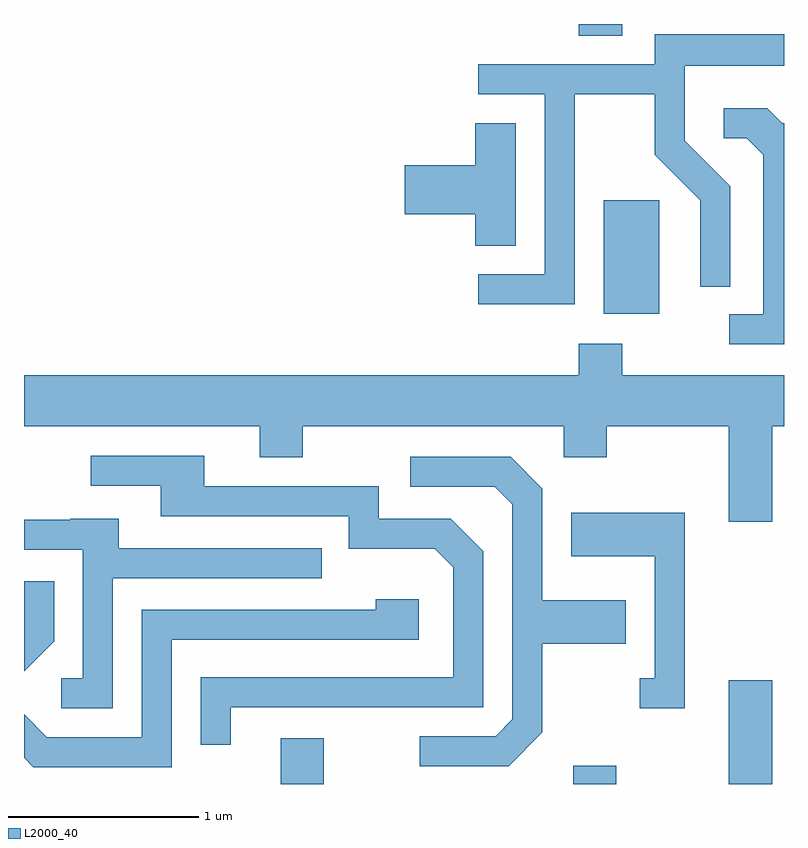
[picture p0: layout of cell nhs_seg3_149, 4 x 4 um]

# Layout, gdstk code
import gdstk
lib = gdstk.Library(unit=1e-6, precision=1e-09)
def R(c, l, rs):  # rectangles x0, y0, x1, y1
    for r in rs: c.add(gdstk.rectangle(r[:2], r[2:], *l))
def P(c, l, *ps):  # polygons
    for p in ps: c.add(gdstk.Polygon(p, *l))
L2000_40 = (2000, 40)

nhs_seg3_149 = lib.new_cell('nhs_seg3_149')
R(nhs_seg3_149, L2000_40, [(190.961,1141.892,191.189,1142.134), (192.501,1141.892,192.729,1141.989), (193.321,1141.892,193.549,1142.439), (192.661,1144.366,192.954,1144.964), (192.531,1145.831,192.759,1145.892)])
P(nhs_seg3_149, L2000_40, [(192.509,1145.521),(192.931,1145.521),(192.931,1145.204),(193.171,1144.964),(193.171,1144.508),(193.329,1144.508),(193.329,1145.037),(193.089,1145.277),(193.089,1145.671),(193.611,1145.671),(193.611,1145.839),(192.931,1145.839),(192.931,1145.679),(192.003,1145.679),(192.003,1145.521),(192.351,1145.521),(192.351,1144.574),(192.003,1144.574),(192.003,1144.416),(192.509,1144.416)],
  [(193.611,1145.369),(193.602,1145.369),(193.522,1145.449),(193.293,1145.449),(193.293,1145.291),(193.414,1145.291),(193.501,1145.204),(193.501,1144.364),(193.323,1144.364),(193.323,1144.206),(193.611,1144.206)],
  [(192.199,1145.369),(191.986,1145.369),(191.986,1145.149),(191.616,1145.149),(191.616,1144.891),(191.986,1144.891),(191.986,1144.726),(192.199,1144.726)],
  [(193.549,1143.776),(193.611,1143.776),(193.611,1144.044),(192.759,1144.044),(192.759,1144.209),(192.531,1144.209),(192.531,1144.044),(189.611,1144.044),(189.611,1143.776),(190.851,1143.776),(190.851,1143.611),(191.079,1143.611),(191.079,1143.776),(192.451,1143.776),(192.451,1143.611),(192.679,1143.611),(192.679,1143.776),(193.321,1143.776),(193.321,1143.271),(193.549,1143.271)],
  [(190.699,1142.296),(192.029,1142.296),(192.029,1143.117),(191.857,1143.289),(191.479,1143.289),(191.479,1143.459),(190.559,1143.459),(190.559,1143.619),(189.963,1143.619),(189.963,1143.461),(190.331,1143.461),(190.331,1143.301),(191.321,1143.301),(191.321,1143.131),(191.774,1143.131),(191.871,1143.034),(191.871,1142.454),(190.541,1142.454),(190.541,1142.098),(190.699,1142.098)],
  [(192.339,1142.164),(192.339,1142.631),(192.779,1142.631),(192.779,1142.859),(192.339,1142.859),(192.339,1143.447),(192.172,1143.614),(191.643,1143.614),(191.643,1143.456),(192.089,1143.456),(192.181,1143.364),(192.181,1142.232),(192.094,1142.144),(191.693,1142.144),(191.693,1141.986),(192.162,1141.986)],
  [(193.089,1143.319),(192.491,1143.319),(192.491,1143.091),(192.931,1143.091),(192.931,1142.449),(192.853,1142.449),(192.853,1142.291),(193.089,1142.291)],
  [(190.079,1142.976),(191.178,1142.976),(191.178,1143.134),(190.109,1143.134),(190.109,1143.289),(189.855,1143.289),(189.855,1143.284),(189.611,1143.284),(189.611,1143.126),(189.921,1143.126),(189.921,1142.449),(189.808,1142.449),(189.808,1142.291),(190.079,1142.291)],
  [(189.769,1142.644),(189.769,1142.958),(189.611,1142.958),(189.611,1142.485)],
  [(190.389,1142.651),(191.689,1142.651),(191.689,1142.864),(191.461,1142.864),(191.461,1142.809),(190.231,1142.809),(190.231,1142.139),(189.732,1142.139),(189.611,1142.26),(189.611,1142.029),(189.659,1141.981),(190.389,1141.981)])

lib.write_gds('nhs_seg3_149.gds')
